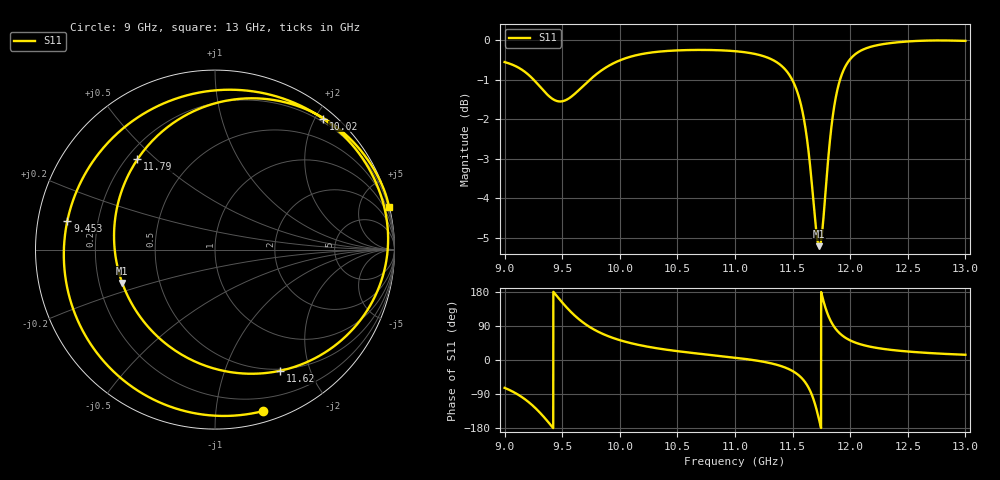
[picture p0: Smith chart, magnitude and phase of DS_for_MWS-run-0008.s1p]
! TOUCHSTONE file generated by CST DESIGN STUDIO
! Date and time: Tue Feb  4 12:43:44 2025
! Project name: C:\Work\MatlabApps\UnitCellOptimizationMatlab\CST\unitcell.cst
! Tree item: Tasks\Sweep1\SPara1\S-Parameters
! Header version: 2024
! Port assignment regex: !\s*Touchstone port\s*([0-9]+)\s*=\s*(CST MWS port|CST DES external port|CST DES block port)\s*(.+)\s* \(\"(.*)\"\)(\s*mode\s*([0-9]+))?.*
! Touchstone port assignment:
! Touchstone port 1 = CST DES external port 1 ("")
# GHz S MA R 50
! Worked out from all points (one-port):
!   4001 points, 9 GHz to 13 GHz, reference 50 ohm
!   lowest |S11| = -5.2 dB at 11.73 GHz (marker M1), VSWR 3.44, Z = 15 - j7.94 ohm
!   |S11| at or under -10 dB: nowhere
!   S11 on the Smith chart (normalised r, x): 9 GHz: 0.09, -1.34; 9.453 GHz: 0.09, +0.10; 10.02 GHz: 0.15, +2.11; 11.62 GHz: 0.48, -1.57; 11.79 GHz: 0.24, +0.44; 13 GHz: 0.06, +8.28
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9  0.9386 -73.5
9.14  0.9199 -95.8
9.241  0.895 -119.5
9.359  0.8572 -156.7
9.453  0.8381 168.8
9.5  0.8374 151.8
9.591  0.8513 122.3
9.689  0.8775 97.3
9.837  0.9152 71.0
10  0.9432 52.4
10.021  0.9458 50.5
10.5  0.971 23.3
11  0.9688 6.2
11.329  0.9443 -10.0
11.5  0.8895 -29.2
11.564  0.8385 -43.3
11.616  0.7667 -61.7
11.678  0.6321 -100.7
11.732  0.5492 -160.3
11.761  0.581 163.6
11.793  0.6632 130.6
11.827  0.7542 105.4
11.866  0.833 85.4
11.928  0.906 65.4
12  0.9466 51.7
12.18  0.9815 34.7
12.5  0.9966 22.4
13  0.9983 13.8
